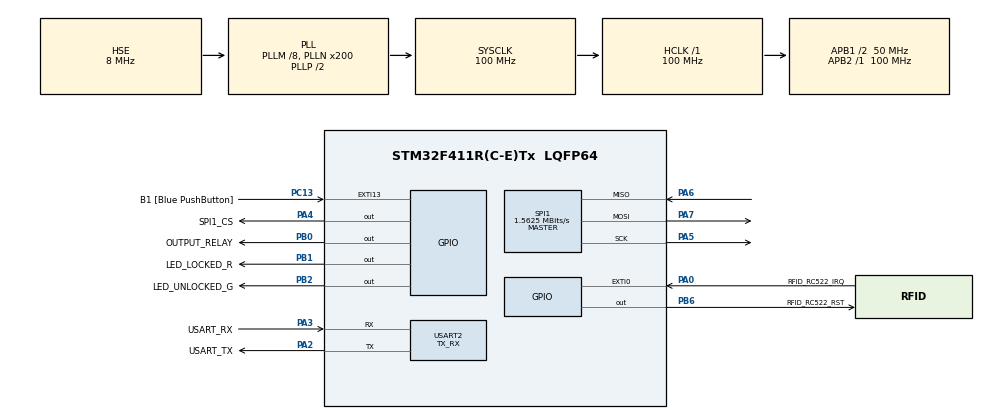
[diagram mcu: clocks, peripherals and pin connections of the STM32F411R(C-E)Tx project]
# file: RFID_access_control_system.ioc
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FREERTOS.BinarySemaphores01=RFIDSem,Dynamic,NULL,Depleted;ButtonSem,Dynamic,NULL,Depleted
FREERTOS.Mutexes01=flashMutex,Dynamic,NULL,Available
FREERTOS.Queues01=xRFIDQueue,10,16,1,Static,xRFIDQueueBuffer,xRFIDQueueControlBlock;xRelayQueue,5,8,1,Static,xRelayQueueBuffer,xRelayQueueControlBlock
FREERTOS.Tasks01=relayTask,24,128,RelayTask,Default,NULL,Dynamic,NULL,NULL;RFIDDriverTask,40,512,RFID_DriverTask,Default,NULL,Dynamic,NULL,NULL;RFIDAppTask,32,512,RFID_AppTask,Default,NULL,Dynamic,NULL,NULL;buttonTask,33,128,ButtonTask,Default,NULL,Dynamic,NULL,NULL;ledTask,8,128,LedTask,Default,NULL,Dynamic,NULL,NULL
Mcu.Family=STM32F4
Mcu.Name=STM32F411R(C-E)Tx
Mcu.Package=LQFP64
NVIC.EXTI0_IRQn=true\:5\:0\:true\:false\:true\:true\:true\:true\:true
NVIC.EXTI15_10_IRQn=true\:5\:0\:false\:false\:true\:true\:true\:true\:true
NVIC.PriorityGroup=NVIC_PRIORITYGROUP_4
NVIC.TIM2_IRQn=true\:15\:0\:false\:false\:true\:false\:false\:true\:true
NVIC.TimeBase=TIM2_IRQn
NVIC.TimeBaseIP=TIM2
PA0-WKUP.GPIO_Label=RFID_RC522_IRQ
PA0-WKUP.GPIO_ModeDefaultEXTI=GPIO_MODE_IT_RISING
PA0-WKUP.GPIO_PuPd=GPIO_PULLDOWN
PA0-WKUP.Signal=GPXTI0
PA13.GPIO_Label=TMS
PA13.Mode=Serial_Wire
PA13.Signal=SYS_JTMS-SWDIO
PA14.GPIO_Label=TCK
PA14.Mode=Serial_Wire
PA14.Signal=SYS_JTCK-SWCLK
PA2.GPIO_Label=USART_TX
PA2.Mode=Asynchronous
PA2.Signal=USART2_TX
PA3.GPIO_Label=USART_RX
PA3.Mode=Asynchronous
PA3.Signal=USART2_RX
PA4.GPIO_Label=SPI1_CS
PA4.GPIO_Speed=GPIO_SPEED_FREQ_MEDIUM
PA4.PinState=GPIO_PIN_SET
PA4.Signal=GPIO_Output
PA5.Mode=Full_Duplex_Master
PA5.Signal=SPI1_SCK
PA6.Mode=Full_Duplex_Master
PA6.Signal=SPI1_MISO
PA7.Mode=Full_Duplex_Master
PA7.Signal=SPI1_MOSI
PB0.GPIO_Label=OUTPUT_RELAY
PB0.PinState=GPIO_PIN_RESET
PB0.Signal=GPIO_Output
PB1.GPIO_Label=LED_LOCKED_R
PB1.PinState=GPIO_PIN_SET
PB1.Signal=GPIO_Output
PB2.GPIO_Label=LED_UNLOCKED_G
PB2.Signal=GPIO_Output
PB3.GPIO_Label=SWO
PB3.Signal=SYS_JTDO-SWO
PB6.GPIO_Label=RFID_RC522_RST
PB6.PinState=GPIO_PIN_SET
PB6.Signal=GPIO_Output
PC13-ANTI_TAMP.GPIO_Label=B1 [Blue PushButton]
PC13-ANTI_TAMP.GPIO_ModeDefaultEXTI=GPIO_MODE_IT_FALLING
PC13-ANTI_TAMP.Signal=GPXTI13
PH0\ -\ OSC_IN.Mode=HSE-External-Oscillator
PH0\ -\ OSC_IN.Signal=RCC_OSC_IN
PH1\ -\ OSC_OUT.Mode=HSE-External-Oscillator
PH1\ -\ OSC_OUT.Signal=RCC_OSC_OUT
ProjectManager.HeapSize=0x200
ProjectManager.StackSize=0x400
ProjectManager.TargetToolchain=CMake
RCC.48MHZClocksFreq_Value=50000000
RCC.AHBFreq_Value=100000000
RCC.APB1CLKDivider=RCC_HCLK_DIV2
RCC.APB1Freq_Value=50000000
RCC.APB1TimFreq_Value=100000000
RCC.APB2Freq_Value=100000000
RCC.APB2TimFreq_Value=100000000
RCC.CortexFreq_Value=100000000
RCC.FLatency-AdvancedSettings=FLASH_LATENCY_3
RCC.HCLKFreq_Value=100000000
RCC.HSE_VALUE=8000000
RCC.HSI_VALUE=16000000
RCC.LSE_VALUE=32768
RCC.PLLM=8
RCC.PLLN=200
RCC.PLLSourceVirtual=RCC_PLLSOURCE_HSE
RCC.SYSCLKFreq_VALUE=100000000
RCC.SYSCLKSource=RCC_SYSCLKSOURCE_PLLCLK
RCC.VCOOutputFreq_Value=200000000
SPI1.BaudRatePrescaler=SPI_BAUDRATEPRESCALER_64
SPI1.CLKPhase=SPI_PHASE_1EDGE
SPI1.CalculateBaudRate=1.5625 MBits/s
SPI1.Direction=SPI_DIRECTION_2LINES
SPI1.Mode=SPI_MODE_MASTER
SPI1.VirtualType=VM_MASTER
TIM3.AutoReloadPreload=TIM_AUTORELOAD_PRELOAD_ENABLE
USART2.Mode=MODE_TX_RX
USART2.VirtualMode=VM_ASYNC
VP_FREERTOS_VS_CMSIS_V2.Mode=CMSIS_V2
VP_SYS_VS_tim2.Mode=TIM2
VP_TIM3_VS_ClockSourceINT.Mode=Internal
VP_TIM4_VS_ClockSourceINT.Mode=Internal
board=NUCLEO-F411RE

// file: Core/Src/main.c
/* USER CODE BEGIN Header */
/**
  ******************************************************************************
  * @file           : main.c
  * @brief          : Main program body
  ******************************************************************************
  * @attention
  *
  * Copyright (c) 2026 STMicroelectronics.
  * All rights reserved.
  *
  * This software is licensed under terms that can be found in the LICENSE file
  * in the root directory of this software component.
  * If no LICENSE file comes with this software, it is provided AS-IS.
  *
  ******************************************************************************
  */
/* USER CODE END Header */
#include "main.h"
#include "cmsis_os.h"
#include "spi.h"
#include "tim.h"
#include "usart.h"
#include "gpio.h"

/* USER CODE BEGIN Includes */
#include "retarget.h"
#include "flash_storage.h"
#include "rfid_rc522.h"

/* USER CODE END Includes */

/* USER CODE BEGIN PV */
extern osSemaphoreId_t RFIDSemHandle;
extern osSemaphoreId_t ButtonSemHandle;

/* USER CODE END PV */

void SystemClock_Config(void);
void MX_FREERTOS_Init(void);

/* USER CODE BEGIN 0 */
void HAL_GPIO_EXTI_Callback(uint16_t GPIO_Pin)
{
  // RFID-RC522 IRQ pin handling
  if (GPIO_Pin == RFID_RC522_IRQ_Pin)
  {
    osSemaphoreRelease(RFIDSemHandle);
    DEBUG_LOG1("IRQ callback fired! - RFIDSem released\r\n"); // debug
  }

  // STM32 blue button B1 handling
  if (GPIO_Pin == B1_Pin)
  {
    //osSemaphoreRelease(ButtonSemHandle);
    DEBUG_LOG0("IRQ callback fired! - ButtonSem Released\r\n"); // debug
  }
}

/* USER CODE END 0 */

int main(void)
{

  /* MCU Configuration--------------------------------------------------------*/

  /* Reset of all peripherals, Initializes the Flash interface and the Systick. */
  HAL_Init();

  /* Configure the system clock */
  SystemClock_Config();

  /* Initialize all configured peripherals */
  MX_GPIO_Init();
  MX_USART2_UART_Init();
  MX_SPI1_Init();
  MX_TIM3_Init();
  MX_TIM4_Init();
  /* USER CODE BEGIN 2 */
  FlashStorage_Init();
  RFID_RC522_Init();
  DEBUG_LOG0("System Initialized\r\n");

  /* USER CODE END 2 */

  /* Init scheduler */
  osKernelInitialize();  /* Call init function for freertos objects (in cmsis_os2.c) */
  MX_FREERTOS_Init();

  /* Start scheduler */
  osKernelStart();

  /* We should never get here as control is now taken by the scheduler */

  /* Infinite loop */
  while (1)
  {

  }
}

void SystemClock_Config(void)
{
  RCC_OscInitTypeDef RCC_OscInitStruct = {0};
  RCC_ClkInitTypeDef RCC_ClkInitStruct = {0};

  /** Configure the main internal regulator output voltage
  */
  __HAL_RCC_PWR_CLK_ENABLE();
  __HAL_PWR_VOLTAGESCALING_CONFIG(PWR_REGULATOR_VOLTAGE_SCALE1);

  /** Initializes the RCC Oscillators according to the specified parameters
  * in the RCC_OscInitTypeDef structure.
  */
  RCC_OscInitStruct.OscillatorType = RCC_OSCILLATORTYPE_HSE;
  RCC_OscInitStruct.HSEState = RCC_HSE_ON;
  RCC_OscInitStruct.PLL.PLLState = RCC_PLL_ON;
  RCC_OscInitStruct.PLL.PLLSource = RCC_PLLSOURCE_HSE;
  RCC_OscInitStruct.PLL.PLLM = 8;
  RCC_OscInitStruct.PLL.PLLN = 200;
  RCC_OscInitStruct.PLL.PLLP = RCC_PLLP_DIV2;
  RCC_OscInitStruct.PLL.PLLQ = 4;
  if (HAL_RCC_OscConfig(&RCC_OscInitStruct) != HAL_OK)
  {
    Error_Handler();
  }

  /** Initializes the CPU, AHB and APB buses clocks
  */
  RCC_ClkInitStruct.ClockType = RCC_CLOCKTYPE_HCLK|RCC_CLOCKTYPE_SYSCLK
                              |RCC_CLOCKTYPE_PCLK1|RCC_CLOCKTYPE_PCLK2;
  RCC_ClkInitStruct.SYSCLKSource = RCC_SYSCLKSOURCE_PLLCLK;
  RCC_ClkInitStruct.AHBCLKDivider = RCC_SYSCLK_DIV1;
  RCC_ClkInitStruct.APB1CLKDivider = RCC_HCLK_DIV2;
  RCC_ClkInitStruct.APB2CLKDivider = RCC_HCLK_DIV1;

  if (HAL_RCC_ClockConfig(&RCC_ClkInitStruct, FLASH_LATENCY_3) != HAL_OK)
  {
    Error_Handler();
  }
}

void HAL_TIM_PeriodElapsedCallback(TIM_HandleTypeDef *htim)
{
  if (htim->Instance == TIM2)
  {
    HAL_IncTick();
  }
}

void Error_Handler(void)
{
  __disable_irq();
  while (1)
  {
  }
}

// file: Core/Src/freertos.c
/* USER CODE BEGIN Header */
/**
  ******************************************************************************
  * File Name          : freertos.c
  * Description        : Code for freertos applications
  ******************************************************************************
  * @attention
  *
  * Copyright (c) 2026 STMicroelectronics.
  * All rights reserved.
  *
  * This software is licensed under terms that can be found in the LICENSE file
  * in the root directory of this software component.
  * If no LICENSE file comes with this software, it is provided AS-IS.
  *
  ******************************************************************************
  */
/* USER CODE END Header */

#include "FreeRTOS.h"
#include "cmsis_os2.h"
#include "portmacro.h"
#include "projdefs.h"
#include "task.h"
#include "cmsis_os.h"

/* USER CODE BEGIN Includes */
#include "retarget.h"
#include "flash_storage.h"
#include "rfid_services.h"
#include "relay.h"

/* USER CODE END Includes */

typedef StaticQueue_t osStaticMessageQDef_t;
/* USER CODE BEGIN PTD */
typedef enum
{
  ACCESS_DENIED,
  ACCESS_GRANTED
} Access_t;

/* USER CODE END PTD */

/* USER CODE BEGIN PD */
// timeouts and delays
#define RFID_APP_TASK_DELAY           100

// LED defs
#define LED_TOGGLE_DELAY              125
#define LED_BLIP_COUNT_1              1
#define LED_BLIP_COUNT_2              2

// flash (temp)
#define WHITELIST_MAX                 5
#define PROGRAM_FLASH                 0

/* USER CODE END PD */

/* USER CODE BEGIN Variables */
static uint8_t whiteList[WHITELIST_MAX][RFID_MAX_UID_LEN] =
{
  {0x91, 0xF7, 0x64, 0x06},
  {0x08, 0xF5, 0x23, 0xB7},
  {0x12, 0x34, 0x56, 0x78}
};

static uint8_t whiteList_len[WHITELIST_MAX] =
{
  4,
  4,
  4
};

/* USER CODE END Variables */
/* Definitions for relayTask */
osThreadId_t relayTaskHandle;
const osThreadAttr_t relayTask_attributes = {
  .name = "relayTask",
  .stack_size = 128 * 4,
  .priority = (osPriority_t) osPriorityNormal,
};
/* Definitions for RFIDDriverTask */
osThreadId_t RFIDDriverTaskHandle;
const osThreadAttr_t RFIDDriverTask_attributes = {
  .name = "RFIDDriverTask",
  .stack_size = 512 * 4,
  .priority = (osPriority_t) osPriorityHigh,
};
/* Definitions for RFIDAppTask */
osThreadId_t RFIDAppTaskHandle;
const osThreadAttr_t RFIDAppTask_attributes = {
  .name = "RFIDAppTask",
  .stack_size = 512 * 4,
  .priority = (osPriority_t) osPriorityAboveNormal,
};
/* Definitions for buttonTask */
osThreadId_t buttonTaskHandle;
const osThreadAttr_t buttonTask_attributes = {
  .name = "buttonTask",
  .stack_size = 128 * 4,
  .priority = (osPriority_t) osPriorityAboveNormal1,
};
/* Definitions for ledTask */
osThreadId_t ledTaskHandle;
const osThreadAttr_t ledTask_attributes = {
  .name = "ledTask",
  .stack_size = 128 * 4,
  .priority = (osPriority_t) osPriorityLow,
};
/* Definitions for xRFIDQueue */
osMessageQueueId_t xRFIDQueueHandle;
uint8_t xRFIDQueueBuffer[ 10 * 16 ];
osStaticMessageQDef_t xRFIDQueueControlBlock;
const osMessageQueueAttr_t xRFIDQueue_attributes = {
  .name = "xRFIDQueue",
  .cb_mem = &xRFIDQueueControlBlock,
  .cb_size = sizeof(xRFIDQueueControlBlock),
  .mq_mem = &xRFIDQueueBuffer,
  .mq_size = sizeof(xRFIDQueueBuffer)
};
/* Definitions for xRelayQueue */
osMessageQueueId_t xRelayQueueHandle;
uint8_t xRelayQueueBuffer[ 5 * 8 ];
osStaticMessageQDef_t xRelayQueueControlBlock;
const osMessageQueueAttr_t xRelayQueue_attributes = {
  .name = "xRelayQueue",
  .cb_mem = &xRelayQueueControlBlock,
  .cb_size = sizeof(xRelayQueueControlBlock),
  .mq_mem = &xRelayQueueBuffer,
  .mq_size = sizeof(xRelayQueueBuffer)
};
/* Definitions for flashMutex */
osMutexId_t flashMutexHandle;
const osMutexAttr_t flashMutex_attributes = {
  .name = "flashMutex"
};
/* Definitions for RFIDSem */
osSemaphoreId_t RFIDSemHandle;
const osSemaphoreAttr_t RFIDSem_attributes = {
  .name = "RFIDSem"
};
/* Definitions for ButtonSem */
osSemaphoreId_t ButtonSemHandle;
const osSemaphoreAttr_t ButtonSem_attributes = {
  .name = "ButtonSem"
};

/* USER CODE BEGIN FunctionPrototypes */
void blipGLED(uint8_t blipCount);
void blipRLED(uint8_t blipCount);

//static Access_t isUIDAuthorized(uint8_t *uid, uint8_t uidLen);
void addUIDData_Init(void);

/* USER CODE END FunctionPrototypes */

void RelayTask(void *argument);
void RFID_DriverTask(void *argument);
void RFID_AppTask(void *argument);
void ButtonTask(void *argument);
void LedTask(void *argument);

void MX_FREERTOS_Init(void); /* (MISRA C 2004 rule 8.1) */

void MX_FREERTOS_Init(void) {
  /* Create the mutex(es) */
  /* creation of flashMutex */
  flashMutexHandle = osMutexNew(&flashMutex_attributes);

  /* Create the semaphores(s) */
  /* creation of RFIDSem */
  RFIDSemHandle = osSemaphoreNew(1, 0, &RFIDSem_attributes);

  /* creation of ButtonSem */
  ButtonSemHandle = osSemaphoreNew(1, 0, &ButtonSem_attributes);

  /* Create the queue(s) */
  /* creation of xRFIDQueue */
  xRFIDQueueHandle = osMessageQueueNew (10, 16, &xRFIDQueue_attributes);

  /* creation of xRelayQueue */
  xRelayQueueHandle = osMessageQueueNew (5, 8, &xRelayQueue_attributes);

  /* Create the thread(s) */
  /* creation of relayTask */
  relayTaskHandle = osThreadNew(RelayTask, NULL, &relayTask_attributes);

  /* creation of RFIDDriverTask */
  RFIDDriverTaskHandle = osThreadNew(RFID_DriverTask, NULL, &RFIDDriverTask_attributes);

  /* creation of RFIDAppTask */
  RFIDAppTaskHandle = osThreadNew(RFID_AppTask, NULL, &RFIDAppTask_attributes);

  /* creation of buttonTask */
  buttonTaskHandle = osThreadNew(ButtonTask, NULL, &buttonTask_attributes);

  /* creation of ledTask */
  ledTaskHandle = osThreadNew(LedTask, NULL, &ledTask_attributes);

}

void RelayTask(void *argument)
{
  /* USER CODE BEGIN RelayTask */
  RelayMessage_t relayMsg_QRecv;

  addUIDData_Init(); // for now

  /* Infinite loop */
  for(;;)
  {
    osMessageQueueGet(xRelayQueueHandle, &relayMsg_QRecv, 0, osWaitForever);

    if (relayMsg_QRecv.cmd == RELAY_CMD_LOCK)
    {
      blipRLED(LED_BLIP_COUNT_2);
      resetRelay();
    }
    else if (relayMsg_QRecv.cmd == RELAY_CMD_UNLOCK )
    {
      // turn relay on to unlock
      turnRelayON();

      // keep door unlocked for .duration_ms
      vTaskDelay(pdMS_TO_TICKS(relayMsg_QRecv.duration_ms));

      // turn relay off and lock
      turnRelayOFF();
    }
    else
    {
      DEBUG_LOG0("RelayTask: Unknown RelayCmd_t");
    }

  }

  /* USER CODE END RelayTask */
}

void RFID_DriverTask(void *argument)
{
  /* USER CODE BEGIN RFID_DriverTask */
  static TickType_t lastWakeTime;
  lastWakeTime = xTaskGetTickCount();

  static uint8_t lastUID[10] = {0};
  static uint8_t lastUIDLen = 0;

  static TickType_t lastSeenTick = 0, now;
  static RFID_ItemEvent_t evt = RFID_ITEM_REMOVED;

  uint8_t txBuffer[TX_BUF_SIZE], rxBuffer[RX_BUF_SIZE], rxLen;
  RFID_Status_t status;
  RFID_Item_t rfidItem_QSend;

  /* Infinite loop */
  for(;;)
  {
    // poll schedule
    vTaskDelayUntil(&lastWakeTime, pdMS_TO_TICKS(RFID_POLL_PERIOD));

    // reset Tx & Rx buffer before polling
    RFID_RC522_resetTxRxBuf(txBuffer, rxBuffer);

    // poll RFID-RC522
    status = RFID_RC522_poll(txBuffer, rxBuffer, &rxLen);

    switch (status)
    {
      case RFID_OK: // success
        DEBUG_LOG1("RFID_RC522_poll: success\r\n");

        // reset rfidItem_QSend fields
        memset(&rfidItem_QSend, 0, sizeof(rfidItem_QSend));

        // put ATQA in RFID Item
        if (rxLen == 2)
          memcpy(rfidItem_QSend.atqa, rxBuffer, rxLen);
        else
        {
          DEBUG_LOG1("RFID_RC522_poll: ATQA length error\r\n");
          continue;
        }

        // reset Tx & Rx buffer before anticollision
        RFID_RC522_resetTxRxBuf(txBuffer, rxBuffer);

        status = RFID_RC522_antiColl(txBuffer, rxBuffer, &rxLen);

        switch (status)
        {
          case RFID_OK: // success
            DEBUG_LOG1("RFID_RC522_antiColl: success\r\n");

            lastSeenTick = xTaskGetTickCount();
            evt = RFID_ITEM_PRESENT;

            rfidItem_QSend.event = (uint8_t) evt;

            // copy UID and its length
            memcpy(rfidItem_QSend.uid, rxBuffer, rxLen);
            rfidItem_QSend.uidLen = rxLen;

            // duplicate filter
            if ((rfidItem_QSend.uidLen == lastUIDLen) && (memcmp(rfidItem_QSend.uid, lastUID, lastUIDLen) == 0))
            {
              // same tag... ignore
              break;
            }
            else
            {
              memcpy(lastUID, rfidItem_QSend.uid, rfidItem_QSend.uidLen);
              lastUIDLen = rfidItem_QSend.uidLen;

              // put rfidItem_QSend in RFIDQueue
              if (osMessageQueuePut(xRFIDQueueHandle, &rfidItem_QSend, 0, 0) != osOK)
                DEBUG_LOG1("RFID_DriverTask: Error: RFIDQueue Full...");

              break;
            }

          case RFID_ERR_ANTICOLL_SEM_TIMEOUT: // antiColl timeout
            DEBUG_LOG1("RFID_RC522_antiColl: RFIDSem timeout\r\n");
            break;

          case RFID_ERR_ANTICOLL_RX: // antiColl readResponse error
            DEBUG_LOG1("RFID_RC522_antiColl: readResponse/Rx error\r\n");
            break;

          case RFID_ERR_ANTICOLL_BCC: // BCC check error
            DEBUG_LOG1("RFID_RC522_antiColl: BCC error\r\n");
            break;

          default:
            DEBUG_LOG1("RFID_RC522_antiColl: unknown error\r\n");
        } // switch antiColl status

        break;

      case RFID_ERR_RES_TIMEOUT: // readResponse timeout
        DEBUG_LOG1("RFID_RC522_readResponse: timeout\r\n");
        break;

      case RFID_ERR_RES_ERR_REG: // error
        DEBUG_LOG1("RFID_RC522_readResponse: error\r\n");
        break;

      case RFID_ERR_POLL_SEM_TIMEOUT: // poll timeout
        DEBUG_LOG1("RFID_RC522_poll: RFIDSem timeout\r\n");
        break;

      default:
        DEBUG_LOG1("RFID_RC522_poll: unknown error\r\n");
    } // switch poll status

    // detect RFID item removal
    now = xTaskGetTickCount();

    if ((evt == RFID_ITEM_PRESENT) && ((now - lastSeenTick) > \
    pdMS_TO_TICKS(RFID_ITEM_REMOVE_TIMEOUT)))
    {
      evt = RFID_ITEM_REMOVED;

      memset(&rfidItem_QSend, 0, sizeof(rfidItem_QSend));
      rfidItem_QSend.event = (uint8_t) evt;

      // put rfidItem_QSend in RFIDQueue
      if (osMessageQueuePut(xRFIDQueueHandle, &rfidItem_QSend, 0, 0) != osOK)
        DEBUG_LOG1("RFID_DriverTask: Error: RFIDQueue Full...");

      memset(lastUID, 0, sizeof(lastUID));
      lastUIDLen = 0;
    }

  }

  /* USER CODE END RFID_DriverTask */
}

void RFID_AppTask(void *argument)
{
  /* USER CODE BEGIN RFID_AppTask */
  DEBUG_LOG0("freeRTOS Started\r\n");
  DEBUG_LOG0("-------------------------------\r\n");

  RFID_Item_t rfidItem_QRecv;
  RFID_ItemEvent_t event = RFID_ITEM_REMOVED;
  RelayMessage_t relayMsg_QSend;
  Access_t auth = ACCESS_DENIED;

  /* Infinite loop */
  for(;;)
  {
    // get rfidItem from RFIDQueue
    osMessageQueueGet(xRFIDQueueHandle, &rfidItem_QRecv, 0, osWaitForever);

    event = (RFID_ItemEvent_t) rfidItem_QRecv.event;

    if (event == RFID_ITEM_PRESENT)
    {
      // print rfidItem
      DEBUG_LOG0("RFID Item Detected!\r\n");
      DEBUG_LOG0("---------- RFID ITEM ----------\r\n");
      DEBUG_LOG0("ATQA: ");
      for (uint8_t i = 0; i < RFID_ATQA_LEN; i++)
        DEBUG_LOG0("%02X ", rfidItem_QRecv.atqa[i]);
      DEBUG_LOG0("\r\n");

      DEBUG_LOG0("UID:  ");
      for (uint8_t i = 0; i < rfidItem_QRecv.uidLen; i++)
        DEBUG_LOG0("%02X ", rfidItem_QRecv.uid[i]);
      DEBUG_LOG0("\r\n");
      DEBUG_LOG0("-------------------------------\r\n");

      /*
      // check whiteList
      auth = isUIDAuthorized(rfidItem_QRecv.uid, rfidItem_QRecv.uidLen);
      */

      // check UID database in flash
      if (FlashStorage_Exists(rfidItem_QRecv.uid, rfidItem_QRecv.uidLen))
        auth = ACCESS_GRANTED;
      else
        auth = ACCESS_DENIED;

      if (auth == ACCESS_DENIED)
      {
        DEBUG_LOG0("Access Denied!\r\n");

        // send lock message to RelayTask
        relayMsg_QSend.cmd = RELAY_CMD_LOCK;
        relayMsg_QSend.duration_ms = 0;

        if (osMessageQueuePut(xRelayQueueHandle, &relayMsg_QSend, 0, 0) != osOK)
          DEBUG_LOG1("RFID_AppTask: Error: RelayQueue Full...\r\n");
      }
      else if (auth == ACCESS_GRANTED)
      {
        DEBUG_LOG0("Access Granted!\r\n");

        // send unlock message to RelayTask
        relayMsg_QSend.cmd = RELAY_CMD_UNLOCK;
        relayMsg_QSend.duration_ms = ACCESS_UNLOCK_TIME_MS;

        if (osMessageQueuePut(xRelayQueueHandle, &relayMsg_QSend, 0, 0) != osOK)
          DEBUG_LOG1("RFID_AppTask: Error: RelayQueue Full...\r\n");
      }
      else
        DEBUG_LOG0("RFID_AppTask: Error: Incorrect Access_t...\r\n");

    }
    else if (event == RFID_ITEM_REMOVED)
    {
      DEBUG_LOG0("RFID Item Removed.\r\n");
      blipRLED(LED_BLIP_COUNT_1); // blip red LED to show removal
    }
    else
      DEBUG_LOG0("RFID_AppTask: Error: Incorrect RFID_ItemEvent_t...\r\n");

    osDelay(RFID_APP_TASK_DELAY);
  }
  /* USER CODE END RFID_AppTask */
}

void ButtonTask(void *argument)
{
  for(;;)
  {
    osDelay(1);
  }
}

void LedTask(void *argument)
{
  for(;;)
  {
    osDelay(1);
  }
}

/* USER CODE BEGIN Application */
void blipGLED(uint8_t blipCount)
{
  for (uint8_t i = 0; i < blipCount; i++)
  {
      toggleGLED();                       // ON
      osDelay(LED_TOGGLE_DELAY);

      toggleGLED();                       // OFF
      osDelay(LED_TOGGLE_DELAY);
  }
}

void blipRLED(uint8_t blipCount)
{
  for (uint8_t i = 0; i < blipCount; i++)
  {
    toggleRLED();                       // ON
    osDelay(LED_TOGGLE_DELAY);

    toggleRLED();                       // OFF
    osDelay(LED_TOGGLE_DELAY);
  }
}

void addUIDData_Init(void)
{
  if (PROGRAM_FLASH)
  {
    for (uint8_t i = 0; i < 3; i++)
    {
      if (FlashStorage_Add(whiteList[i], whiteList_len[i]) != HAL_OK)
        return;
      DEBUG_LOG0("UID data %d added to flash.\r\n", i);
    }

    DEBUG_LOG0("All UID data added to flash.\r\n");
  }
}

/*
static Access_t isUIDAuthorized(uint8_t *uid, uint8_t uidLen)
{
  for (uint8_t i = 0; i < WHITELIST_MAX; i++)
  {
    if ((uidLen == whiteList_len[i]) && (memcmp(uid, whiteList[i], uidLen) == 0))
      return ACCESS_GRANTED; // authorized
  }
  return ACCESS_DENIED; // not authorized
}
*/

/* USER CODE END Application */
